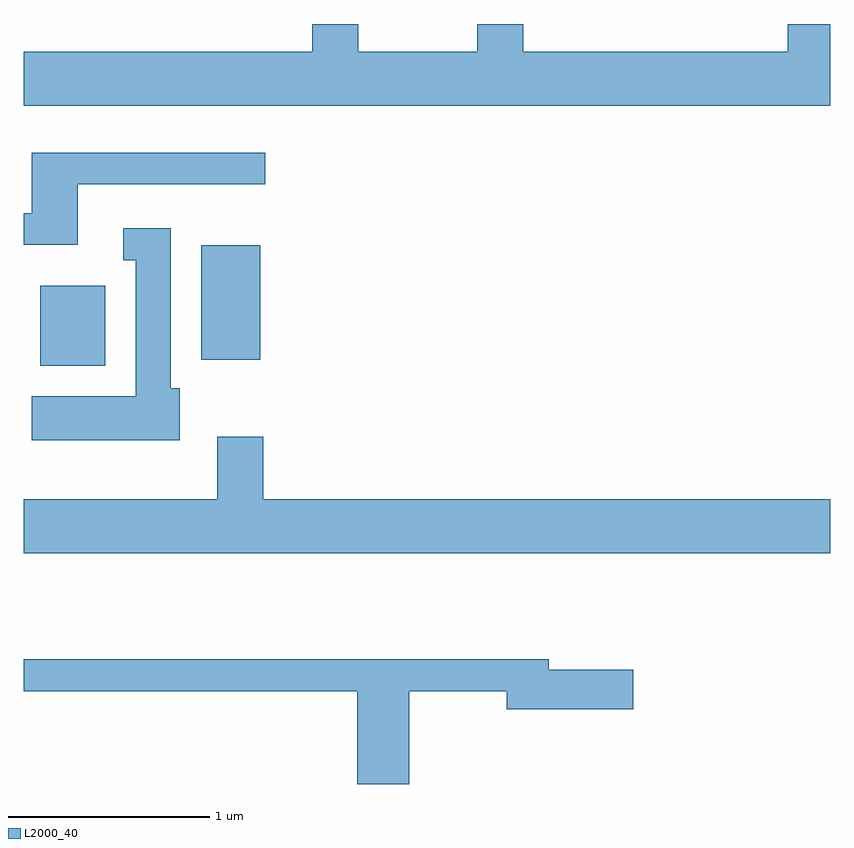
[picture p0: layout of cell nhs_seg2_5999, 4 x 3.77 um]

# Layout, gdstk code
import gdstk
lib = gdstk.Library(unit=1e-6, precision=1e-09)
def R(c, l, rs):  # rectangles x0, y0, x1, y1
    for r in rs: c.add(gdstk.rectangle(r[:2], r[2:], *l))
def P(c, l, *ps):  # polygons
    for p in ps: c.add(gdstk.Polygon(p, *l))
L2000_40 = (2000, 40)

nhs_seg2_5999 = lib.new_cell('nhs_seg2_5999')
R(nhs_seg2_5999, L2000_40, [(361.691,1078.106,362.014,1078.504), (362.491,1078.136,362.784,1078.704)])
P(nhs_seg2_5999, L2000_40, [(365.611,1079.802),(365.401,1079.802),(365.401,1079.664),(364.089,1079.664),(364.089,1079.802),(363.861,1079.802),(363.861,1079.664),(363.269,1079.664),(363.269,1079.802),(363.041,1079.802),(363.041,1079.664),(361.611,1079.664),(361.611,1079.396),(365.611,1079.396)],
  [(361.879,1079.006),(362.808,1079.006),(362.808,1079.164),(361.651,1079.164),(361.651,1078.864),(361.611,1078.864),(361.611,1078.706),(361.879,1078.706)],
  [(362.384,1077.994),(362.339,1077.994),(362.339,1078.789),(362.103,1078.789),(362.103,1078.631),(362.166,1078.631),(362.166,1077.954),(361.651,1077.954),(361.651,1077.736),(362.384,1077.736)],
  [(365.611,1077.444),(362.799,1077.444),(362.799,1077.754),(362.571,1077.754),(362.571,1077.444),(361.611,1077.444),(361.611,1077.176),(365.611,1077.176)],
  [(363.524,1076.491),(364.006,1076.491),(364.006,1076.401),(364.634,1076.401),(364.634,1076.599),(364.214,1076.599),(364.214,1076.649),(361.611,1076.649),(361.611,1076.491),(363.266,1076.491),(363.266,1076.031),(363.524,1076.031)])

lib.write_gds('nhs_seg2_5999.gds')
